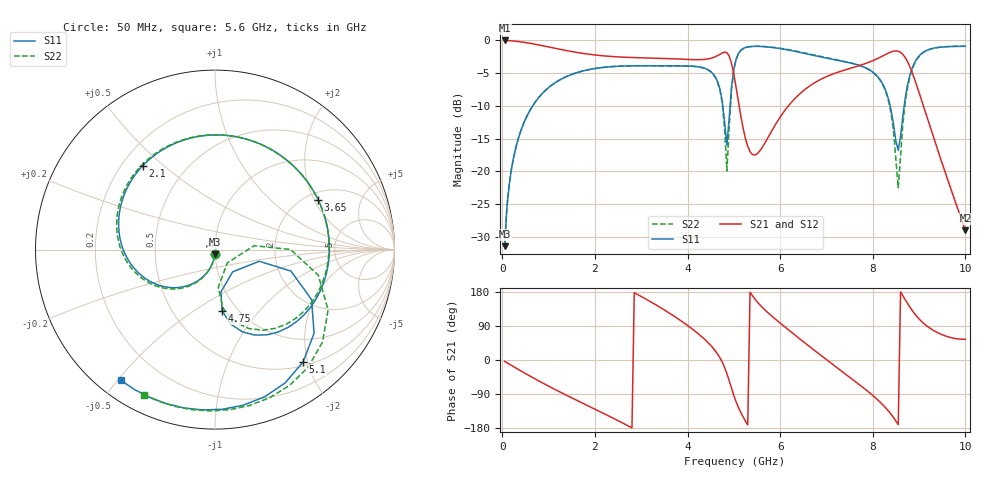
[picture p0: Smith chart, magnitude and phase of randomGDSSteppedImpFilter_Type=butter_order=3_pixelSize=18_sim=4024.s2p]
! freq	dB(S11)	phase(S11)	dB(S12)	phase(S12)
!  dB(S21)	phase(S21)	dB(S22)	phase(S22)
!S-par simulation data
#  GHz  S  DB  R 50
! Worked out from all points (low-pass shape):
!   200 points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, 50 MHz to 10 GHz, reference 50 ohm
!   highest |S21| = -0.01 dB at 50 MHz (marker M1); lowest = -29.0 dB at 10 GHz (marker M2)
!   |S21| within 3 dB of the highest: start of sweep to 4.928 GHz; 8.029 GHz to 8.731 GHz (702.5 MHz wide, 8.38 % of centre)
!   lowest |S11| = -31.4 dB at 50 MHz (marker M3), VSWR 1.06, Z = 49.8 - j2.67 ohm
!   |S11| at or under -10 dB: start of sweep to 656.6 MHz; 4.761 GHz to 4.92 GHz (158.6 MHz wide, 3.28 % of centre); 8.374 GHz to 8.678 GHz (304.1 MHz wide, 3.57 % of centre)
!   |S22| runs from -31.4 to -0.9 dB; largest |S21 - S12| = 0
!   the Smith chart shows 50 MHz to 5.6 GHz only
!   S11 on the Smith chart (normalised r, x): 50 MHz: 1.00, -0.05; 2.1 GHz: 0.28, +0.43; 3.65 GHz: 2.31, +2.16; 4.75 GHz: 0.85, -0.66; 5.1 GHz: 0.56, -1.92; 5.6 GHz: 0.07, -0.51
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0.05  -31.43 -92.4  -0.01 -3.7  -0.01 -3.7  -31.43 -92.2
0.2  -19.55 -104.9  -0.08 -14.5  -0.08 -14.5  -19.54 -104.4
0.5  -12.04 -126.9  -0.33 -35.7  -0.33 -35.7  -12.04 -125.5
1.75  -4.66 152.1  -2.00 -114.9  -2.00 -114.9  -4.65 157.0
2.1  -4.20 130.8  -2.31 -135.7  -2.31 -135.7  -4.20 136.8
3.4  -3.89 44.7  -2.74 139.5  -2.74 139.5  -3.89 54.1
3.65  -3.90 25.7  -2.80 120.4  -2.80 120.4  -3.90 35.2
4.3  -4.12 -31.0  -2.94 62.2  -2.94 62.2  -4.14 -23.0
4.75  -9.29 -83.3  -1.93 -5.8  -1.93 -5.8  -9.65 -82.2
4.85  -16.02 -51.6  -1.89 -35.9  -1.89 -35.9  -19.91 -47.4
5.05  -2.83 -40.1  -7.25 -110.7  -7.25 -110.7  -2.93 -28.1
5.1  -1.99 -51.9  -9.42 -125.5  -9.42 -125.5  -2.05 -40.7
5.3  -1.01 -87.3  -16.19 -171.4  -16.19 -171.4  -1.01 -77.6
5.6  -0.94 -125.8  -16.49 140.6  -16.49 140.6  -0.92 -116.1
6.1  -1.37 178.6  -10.71 87.4  -10.71 87.4  -1.32 -169.0
6.7  -2.26 114.8  -6.67 29.2  -6.67 29.2  -2.19 133.6
7.6  -3.60 25.4  -4.09 -54.5  -4.09 -54.5  -3.59 51.9
8.35  -9.24 -44.0  -1.90 -136.4  -1.90 -136.4  -9.56 -24.3
8.55  -16.79 -7.8  -1.66 -170.5  -1.66 -170.5  -22.51 19.0
8.85  -4.25 8.9  -4.90 131.0  -4.90 131.0  -4.45 42.2
9.25  -1.31 -35.2  -13.47 82.7  -13.47 82.7  -1.33 -7.0
10  -0.91 -81.3  -29.03 54.7  -29.03 54.7  -0.88 -56.8
